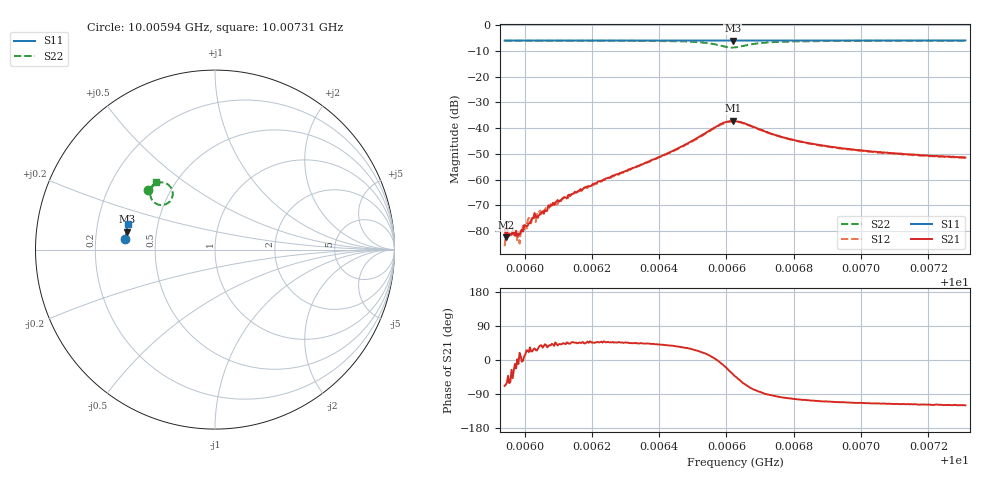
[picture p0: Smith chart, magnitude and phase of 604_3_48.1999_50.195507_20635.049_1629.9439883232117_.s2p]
#  HZ  S  RI  R  50.00
! Rohde & Schwarz Vector Network Analyzer
! Rohde-Schwarz,ZNB20-2Port,1311601062101988,3.16
! Created: UTC 3/20/2024, 12:03:08 PM
! freq[Hz]  re:S11  im:S11  re:S21  im:S21  re:S12  im:S12  re:S22  im:S22
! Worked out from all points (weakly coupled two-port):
!   401 points, 10.00594 GHz to 10.00731 GHz, reference 50 ohm
!   highest |S21| = -37.12 dB at 10.00662 GHz (marker M1); lowest = -82.4 dB at 10.00594 GHz (marker M2)
!   lowest |S11| = -6.0 dB at 10.00662 GHz (marker M3), VSWR 3.02, Z = 16.7 + j4.48 ohm
!   |S11| at or under -10 dB: nowhere
!   |S22| runs from -8.7 to -6.0 dB; largest |S21 - S12| = 0.001
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1.0005941e10  -0.4992 0.0571  4.26e-05 -0.000107  1.25e-05 -4.94e-05  -0.371 0.3325
1.0005944e10  -0.4991 0.0572  3.18e-05 -6.86e-05  2.2e-05 -7.24e-05  -0.3709 0.3326
1.0005958e10  -0.4992 0.0581  4.64e-05 -7.32e-05  6.69e-05 -5.41e-05  -0.37 0.3336
1.0005989e10  -0.499 0.0602  9.34e-05 1.63e-05  0.000101 1.37e-05  -0.3684 0.3356
1.0005999e10  -0.4989 0.0608  0.000129 2.17e-05  9.96e-05 2.23e-05  -0.3678 0.3361
1.0006016e10  -0.4988 0.0619  0.000119 7.89e-05  0.000129 7.68e-05  -0.3667 0.3373
1.0006026e10  -0.4986 0.0626  0.000157 8.43e-05  0.000153 0.000105  -0.3662 0.3379
1.000603e10  -0.4987 0.0628  0.000194 0.000114  0.000176 0.000107  -0.366 0.3382
1.0006061e10  -0.4985 0.0648  0.000191 0.000168  0.000215 0.000134  -0.3642 0.3402
1.0006078e10  -0.4985 0.0659  0.000244 0.000195  0.000244 0.000227  -0.3632 0.3414
1.000617e10  -0.4978 0.072  0.000425 0.000439  0.00044 0.000471  -0.3565 0.3479
1.0006399e10  -0.4956 0.0871  0.00208 0.0018  0.00194 0.00187  -0.3285 0.368
1.0006468e10  -0.495 0.0915  0.00366 0.00246  0.00345 0.00258  -0.3088 0.3737
1.000654e10  -0.4937 0.0961  0.00784 0.00228  0.00755 0.00261  -0.2669 0.3658
1.0006588e10  -0.4927 0.0988  0.0122 -0.00237  0.0119 -0.0017  -0.2354 0.3153
1.0006619e10  -0.4922 0.1001  0.0112 -0.00833  0.0112 -0.00749  -0.2567 0.2638
1.0006625e10  -0.4923 0.1005  0.00995 -0.00927  0.0105 -0.00851  -0.2674 0.2563
1.0006701e10  -0.4925 0.1051  0.000932 -0.0093  0.00138 -0.00913  -0.3521 0.2792
1.0006773e10  -0.4918 0.1098  -0.00109 -0.00641  -0.000721 -0.00639  -0.3608 0.3142
1.0006855e10  -0.491 0.1151  -0.00148 -0.00475  -0.00125 -0.00475  -0.3569 0.335
1.0007084e10  -0.4878 0.1299  -0.00141 -0.00298  -0.00127 -0.003  -0.3418 0.362
1.000731e10  -0.4842 0.1441  -0.00133 -0.00234  -0.00119 -0.00237  -0.3287 0.3774
